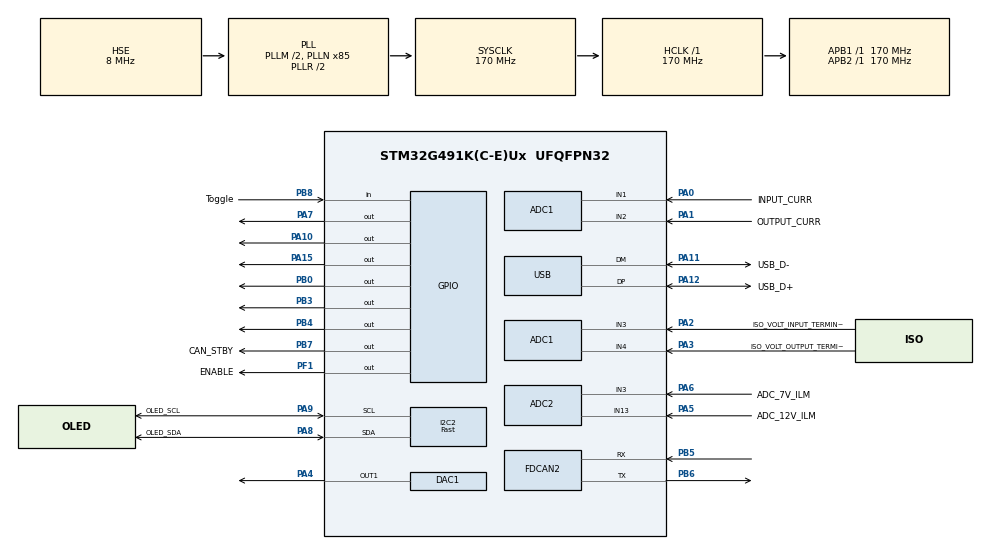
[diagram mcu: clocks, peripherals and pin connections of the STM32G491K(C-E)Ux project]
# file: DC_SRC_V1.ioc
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ADC1.Channel-2\#ChannelRegularConversion=ADC_CHANNEL_1
ADC1.Channel-3\#ChannelRegularConversion=ADC_CHANNEL_2
ADC1.Channel-4\#ChannelRegularConversion=ADC_CHANNEL_3
ADC1.Channel-5\#ChannelRegularConversion=ADC_CHANNEL_4
ADC1.ClockPrescaler=ADC_CLOCK_ASYNC_DIV64
ADC1.ContinuousConvMode=ENABLE
ADC1.DMAContinuousRequests=ENABLE
ADC1.EOCSelection=ADC_EOC_SEQ_CONV
ADC1.NbrOfConversion=4
ADC1.NbrOfConversionFlag=1
ADC1.OffsetNumber-2\#ChannelRegularConversion=ADC_OFFSET_NONE
ADC1.OffsetNumber-3\#ChannelRegularConversion=ADC_OFFSET_NONE
ADC1.OffsetNumber-4\#ChannelRegularConversion=ADC_OFFSET_NONE
ADC1.OffsetNumber-5\#ChannelRegularConversion=ADC_OFFSET_NONE
ADC1.Overrun=ADC_OVR_DATA_OVERWRITTEN
ADC1.Rank-2\#ChannelRegularConversion=1
ADC1.Rank-3\#ChannelRegularConversion=2
ADC1.Rank-4\#ChannelRegularConversion=3
ADC1.Rank-5\#ChannelRegularConversion=4
ADC1.SamplingTime-2\#ChannelRegularConversion=ADC_SAMPLETIME_2CYCLES_5
ADC1.SamplingTime-3\#ChannelRegularConversion=ADC_SAMPLETIME_2CYCLES_5
ADC1.SamplingTime-4\#ChannelRegularConversion=ADC_SAMPLETIME_2CYCLES_5
ADC1.SamplingTime-5\#ChannelRegularConversion=ADC_SAMPLETIME_2CYCLES_5
ADC1.master=1
ADC2.Channel-1\#ChannelRegularConversion=ADC_CHANNEL_3
ADC2.Channel-2\#ChannelRegularConversion=ADC_CHANNEL_13
ADC2.ClockPrescaler=ADC_CLOCK_ASYNC_DIV64
ADC2.ContinuousConvMode=ENABLE
ADC2.DMAContinuousRequests=ENABLE
ADC2.NbrOfConversion=2
ADC2.NbrOfConversionFlag=1
ADC2.OffsetNumber-1\#ChannelRegularConversion=ADC_OFFSET_NONE
ADC2.OffsetNumber-2\#ChannelRegularConversion=ADC_OFFSET_NONE
ADC2.Rank-1\#ChannelRegularConversion=1
ADC2.Rank-2\#ChannelRegularConversion=2
ADC2.SamplingTime-1\#ChannelRegularConversion=ADC_SAMPLETIME_24CYCLES_5
ADC2.SamplingTime-2\#ChannelRegularConversion=ADC_SAMPLETIME_24CYCLES_5
Dma.ADC1.0.Direction=DMA_PERIPH_TO_MEMORY
Dma.ADC1.0.EventEnable=DISABLE
Dma.ADC1.0.Instance=DMA1_Channel1
Dma.ADC1.0.MemDataAlignment=DMA_MDATAALIGN_WORD
Dma.ADC1.0.MemInc=DMA_MINC_ENABLE
Dma.ADC1.0.Mode=DMA_CIRCULAR
Dma.ADC1.0.PeriphDataAlignment=DMA_PDATAALIGN_WORD
Dma.ADC1.0.PeriphInc=DMA_PINC_DISABLE
Dma.ADC1.0.Polarity=HAL_DMAMUX_REQ_GEN_RISING
Dma.ADC1.0.Priority=DMA_PRIORITY_LOW
Dma.ADC1.0.RequestNumber=1
Dma.ADC1.0.SignalID=NONE
Dma.ADC1.0.SyncEnable=DISABLE
Dma.ADC1.0.SyncPolarity=HAL_DMAMUX_SYNC_NO_EVENT
Dma.ADC1.0.SyncRequestNumber=1
Dma.ADC1.0.SyncSignalID=NONE
Dma.ADC2.1.Direction=DMA_PERIPH_TO_MEMORY
Dma.ADC2.1.EventEnable=DISABLE
Dma.ADC2.1.Instance=DMA1_Channel2
Dma.ADC2.1.MemDataAlignment=DMA_MDATAALIGN_WORD
Dma.ADC2.1.MemInc=DMA_MINC_ENABLE
Dma.ADC2.1.Mode=DMA_CIRCULAR
Dma.ADC2.1.PeriphDataAlignment=DMA_PDATAALIGN_HALFWORD
Dma.ADC2.1.PeriphInc=DMA_PINC_DISABLE
Dma.ADC2.1.Polarity=HAL_DMAMUX_REQ_GEN_RISING
Dma.ADC2.1.Priority=DMA_PRIORITY_LOW
Dma.ADC2.1.RequestNumber=1
Dma.ADC2.1.SignalID=NONE
Dma.ADC2.1.SyncEnable=DISABLE
Dma.ADC2.1.SyncPolarity=HAL_DMAMUX_SYNC_NO_EVENT
Dma.ADC2.1.SyncRequestNumber=1
Dma.ADC2.1.SyncSignalID=NONE
Dma.I2C2_TX.2.Direction=DMA_MEMORY_TO_PERIPH
Dma.I2C2_TX.2.EventEnable=DISABLE
Dma.I2C2_TX.2.Instance=DMA1_Channel3
Dma.I2C2_TX.2.MemDataAlignment=DMA_MDATAALIGN_BYTE
Dma.I2C2_TX.2.MemInc=DMA_MINC_ENABLE
Dma.I2C2_TX.2.Mode=DMA_CIRCULAR
Dma.I2C2_TX.2.PeriphDataAlignment=DMA_PDATAALIGN_BYTE
Dma.I2C2_TX.2.PeriphInc=DMA_PINC_DISABLE
Dma.I2C2_TX.2.Polarity=HAL_DMAMUX_REQ_GEN_RISING
Dma.I2C2_TX.2.Priority=DMA_PRIORITY_LOW
Dma.I2C2_TX.2.RequestNumber=1
Dma.I2C2_TX.2.SignalID=NONE
Dma.I2C2_TX.2.SyncEnable=DISABLE
Dma.I2C2_TX.2.SyncPolarity=HAL_DMAMUX_SYNC_NO_EVENT
Dma.I2C2_TX.2.SyncRequestNumber=1
Dma.I2C2_TX.2.SyncSignalID=NONE
Dma.Request0=ADC1
Dma.Request1=ADC2
Dma.Request2=I2C2_TX
FDCAN2.AutoRetransmission=ENABLE
FDCAN2.CalculateBaudRateNominal=1000000
FDCAN2.CalculateTimeBitNominal=1000
FDCAN2.CalculateTimeQuantumNominal=125.0
FDCAN2.DataTimeSeg2=2
FDCAN2.FrameFormat=FDCAN_FRAME_FD_BRS
FDCAN2.Mode=FDCAN_MODE_EXTERNAL_LOOPBACK
FDCAN2.NominalPrescaler=1
FDCAN2.NominalSyncJumpWidth=2
FDCAN2.NominalTimeSeg1=5
FDCAN2.NominalTimeSeg2=2
FDCAN2.StdFiltersNbr=1
FREERTOS.Queues01=canQueueRxHeader,512,uint32_t,0,Static,canQueueRxHeaderBuffer,canQueueRxHeaderControlBlock;canQueueRxData,512,uint8_t,0,Static,canQueueRxDataBuffer,canQueueRxDataControlBlock
FREERTOS.Tasks01=defaultTask,24,512,StartDefaultTask,Default,NULL,Static,defaultTaskBuffer,defaultTaskControlBlock;canSendMsg,24,512,StartCanSend,Default,NULL,Static,canSendMsgBuffer,canSendMsgControlBlock;canRecieveMsg,24,512,StartRecieveMsg,Default,NULL,Static,canRecieveMsgBuffer,canRecieveMsgControlBlock;adcConvTask,24,512,StartAdcConv,Default,NULL,Static,adcConvTaskBuffer,adcConvTaskControlBlock;ScreenPrintTask,24,512,startScreenPrint,Default,NULL,Static,ScreenPrintHandBuffer,ScreenPrintHandControlBlock;TRKPinTask,24,512,StartTRKPin,Default,NULL,Static,TRKPinTaskBuffer,TRKPinTaskControlBlock;StatusLEDHandle,24,512,StartStatusLED,Default,NULL,Static,StatusLEDHandleBuffer,StatusLEDHandleControlBlock
FREERTOS.configENABLE_FPU=1
FREERTOS.configUSE_NEWLIB_REENTRANT=1
I2C2.CustomTiming=Disabled
I2C2.I2C_Speed_Mode=I2C_Fast
I2C2.Timing=0x40621236
Mcu.Family=STM32G4
Mcu.Name=STM32G491K(C-E)Ux
Mcu.Package=UFQFPN32
NVIC.FDCAN2_IT0_IRQn=true\:5\:0\:false\:false\:true\:true\:true\:true\:true
NVIC.FDCAN2_IT1_IRQn=true\:5\:0\:false\:false\:true\:true\:true\:true\:true
NVIC.PriorityGroup=NVIC_PRIORITYGROUP_4
NVIC.TIM20_UP_IRQn=true\:15\:0\:false\:false\:true\:false\:false\:true\:true
NVIC.TimeBase=TIM20_UP_IRQn
NVIC.TimeBaseIP=TIM20
NVIC.USB_LP_IRQn=true\:5\:0\:false\:false\:true\:true\:false\:true\:true
PA0.GPIO_Label=INPUT_CURR
PA0.Mode=IN1-Single-Ended
PA0.Signal=ADC1_IN1
PA1.GPIO_Label=OUTPUT_CURR
PA1.Mode=IN2-Single-Ended
PA1.Signal=ADC1_IN2
PA10.Signal=GPIO_Output
PA11.GPIO_Label=USB_D-
PA11.Mode=Device
PA11.Signal=USB_DM
PA12.GPIO_Label=USB_D+
PA12.Mode=Device
PA12.Signal=USB_DP
PA13.Mode=Serial_Wire
PA13.Signal=SYS_JTMS-SWDIO
PA14.Mode=Serial_Wire
PA14.Signal=SYS_JTCK-SWCLK
PA15.Signal=GPIO_Output
PA2.GPIO_Label=ISO_VOLT_INPUT_TERMINAL
PA2.Mode=IN3-Single-Ended
PA2.Signal=ADC1_IN3
PA3.GPIO_Label=ISO_VOLT_OUTPUT_TERMINAL
PA3.Mode=IN4-Single-Ended
PA3.Signal=ADC1_IN4
PA4.Signal=COMP_DAC11_group
PA5.GPIO_Label=ADC_12V_ILM
PA5.Mode=IN13-Single-Ended
PA5.Signal=ADC2_IN13
PA6.GPIO_Label=ADC_7V_ILM
PA6.Mode=IN3-Single-Ended
PA6.Signal=ADC2_IN3
PA7.Signal=GPIO_Output
PA8.GPIO_Label=OLED_SDA
PA8.Mode=I2C
PA8.Signal=I2C2_SDA
PA9.GPIO_Label=OLED_SCL
PA9.Mode=I2C
PA9.Signal=I2C2_SCL
PB0.Signal=GPIO_Output
PB3.Signal=GPIO_Output
PB4.Signal=GPIO_Output
PB5.GPIO_PuPd=GPIO_PULLUP
PB5.Mode=FDCAN_Activate
PB5.Signal=FDCAN2_RX
PB6.Mode=FDCAN_Activate
PB6.Signal=FDCAN2_TX
PB7.GPIO_Label=CAN_STBY
PB7.Signal=GPIO_Output
PB8-BOOT0.GPIO_Label=Toggle
PB8-BOOT0.GPIO_PuPd=GPIO_PULLUP
PB8-BOOT0.Signal=GPIO_Input
PF0-OSC_IN.Mode=HSE-External-Clock-Source
PF0-OSC_IN.Signal=RCC_OSC_IN
PF1-OSC_OUT.GPIO_Label=ENABLE
PF1-OSC_OUT.Signal=GPIO_Output
ProjectManager.HeapSize=0x200
ProjectManager.StackSize=0x400
ProjectManager.TargetToolchain=STM32CubeIDE
RCC.ADC12Freq_Value=170000000
RCC.ADC345Freq_Value=170000000
RCC.AHBFreq_Value=170000000
RCC.APB1Freq_Value=170000000
RCC.APB1TimFreq_Value=170000000
RCC.APB2Freq_Value=170000000
RCC.APB2TimFreq_Value=170000000
RCC.CortexFreq_Value=170000000
RCC.EXTERNAL_CLOCK_VALUE=12288000
RCC.FDCANCLockSelection=RCC_FDCANCLKSOURCE_HSE
RCC.HCLKFreq_Value=170000000
RCC.HSE_VALUE=8000000
RCC.HSI48_VALUE=48000000
RCC.HSI_VALUE=16000000
RCC.LSE_VALUE=32768
RCC.PLLM=RCC_PLLM_DIV2
RCC.PLLN=85
RCC.PLLSourceVirtual=RCC_PLLSOURCE_HSE
RCC.SYSCLKFreq_VALUE=170000000
RCC.SYSCLKSource=RCC_SYSCLKSOURCE_PLLCLK
RCC.VCOOutputFreq_Value=340000000
SH.COMP_DAC11_group.0=DAC1_OUT1,DAC_OUT1_ExtAndInt
USB_DEVICE.CLASS_NAME_FS=CDC
USB_DEVICE.VirtualMode=Cdc
USB_DEVICE.VirtualModeFS=Cdc_FS
VP_FREERTOS_VS_CMSIS_V2.Mode=CMSIS_V2
VP_SYS_VS_DBSignals.Mode=DisableDeadBatterySignals
VP_SYS_VS_tim20.Mode=TIM20
VP_USB_DEVICE_VS_USB_DEVICE_CDC_FS.Mode=CDC_FS
board=custom

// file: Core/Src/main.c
/* USER CODE BEGIN Header */
/**
  ******************************************************************************
  * @file           : main.c
  * @brief          : Main program body
  ******************************************************************************
  * @attention
  *
  * Copyright (c) 2025 STMicroelectronics.
  * All rights reserved.
  *
  * This software is licensed under terms that can be found in the LICENSE file
  * in the root directory of this software component.
  * If no LICENSE file comes with this software, it is provided AS-IS.
  *
  ******************************************************************************
  */
/* USER CODE END Header */
#include "main.h"
#include "cmsis_os.h"
#include "adc.h"
#include "dac.h"
#include "dma.h"
#include "fdcan.h"
#include "i2c.h"
#include "usb_device.h"
#include "gpio.h"

void SystemClock_Config(void);
void MX_FREERTOS_Init(void);

int main(void)
{

  /* MCU Configuration--------------------------------------------------------*/

  /* Reset of all peripherals, Initializes the Flash interface and the Systick. */
  HAL_Init();

  /* Configure the system clock */
  SystemClock_Config();

  /* Initialize all configured peripherals */
  MX_GPIO_Init();
  MX_DMA_Init();
  MX_FDCAN2_Init();
  MX_ADC1_Init();
  MX_ADC2_Init();
  MX_I2C2_Init();
  MX_DAC1_Init();

  /* Init scheduler */
  osKernelInitialize();

  /* Call init function for freertos objects (in cmsis_os2.c) */
  MX_FREERTOS_Init();

  /* Start scheduler */
  osKernelStart();

  /* We should never get here as control is now taken by the scheduler */

  /* Infinite loop */
  while (1)
  {

  }
}

void SystemClock_Config(void)
{
  RCC_OscInitTypeDef RCC_OscInitStruct = {0};
  RCC_ClkInitTypeDef RCC_ClkInitStruct = {0};

  /** Configure the main internal regulator output voltage
  */
  HAL_PWREx_ControlVoltageScaling(PWR_REGULATOR_VOLTAGE_SCALE1_BOOST);

  /** Initializes the RCC Oscillators according to the specified parameters
  * in the RCC_OscInitTypeDef structure.
  */
  RCC_OscInitStruct.OscillatorType = RCC_OSCILLATORTYPE_HSI48|RCC_OSCILLATORTYPE_HSE;
  RCC_OscInitStruct.HSEState = RCC_HSE_BYPASS;
  RCC_OscInitStruct.HSI48State = RCC_HSI48_ON;
  RCC_OscInitStruct.PLL.PLLState = RCC_PLL_ON;
  RCC_OscInitStruct.PLL.PLLSource = RCC_PLLSOURCE_HSE;
  RCC_OscInitStruct.PLL.PLLM = RCC_PLLM_DIV2;
  RCC_OscInitStruct.PLL.PLLN = 85;
  RCC_OscInitStruct.PLL.PLLP = RCC_PLLP_DIV2;
  RCC_OscInitStruct.PLL.PLLQ = RCC_PLLQ_DIV2;
  RCC_OscInitStruct.PLL.PLLR = RCC_PLLR_DIV2;
  if (HAL_RCC_OscConfig(&RCC_OscInitStruct) != HAL_OK)
  {
    Error_Handler();
  }

  /** Initializes the CPU, AHB and APB buses clocks
  */
  RCC_ClkInitStruct.ClockType = RCC_CLOCKTYPE_HCLK|RCC_CLOCKTYPE_SYSCLK
                              |RCC_CLOCKTYPE_PCLK1|RCC_CLOCKTYPE_PCLK2;
  RCC_ClkInitStruct.SYSCLKSource = RCC_SYSCLKSOURCE_PLLCLK;
  RCC_ClkInitStruct.AHBCLKDivider = RCC_SYSCLK_DIV1;
  RCC_ClkInitStruct.APB1CLKDivider = RCC_HCLK_DIV1;
  RCC_ClkInitStruct.APB2CLKDivider = RCC_HCLK_DIV1;

  if (HAL_RCC_ClockConfig(&RCC_ClkInitStruct, FLASH_LATENCY_4) != HAL_OK)
  {
    Error_Handler();
  }
}

void HAL_TIM_PeriodElapsedCallback(TIM_HandleTypeDef *htim)
{
  /* USER CODE BEGIN Callback 0 */
//
  /* USER CODE END Callback 0 */
  if (htim->Instance == TIM20) {
    HAL_IncTick();
  }
  /* USER CODE BEGIN Callback 1 */
//
  /* USER CODE END Callback 1 */
}

void Error_Handler(void)
{
  __disable_irq();
  while (1)
  {
  }
}

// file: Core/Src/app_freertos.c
/* USER CODE BEGIN Header */
/**
 ******************************************************************************
 * File Name          : app_freertos.c
 * Description        : Code for freertos applications
 ******************************************************************************
 * @attention
 *
 * Copyright (c) 2025 STMicroelectronics.
 * All rights reserved.
 *
 * This software is licensed under terms that can be found in the LICENSE file
 * in the root directory of this software component.
 * If no LICENSE file comes with this software, it is provided AS-IS.
 *
 ******************************************************************************
 */
/* USER CODE END Header */

#include "FreeRTOS.h"
#include "task.h"
#include "main.h"
#include "cmsis_os.h"

/* USER CODE BEGIN Includes */
#include "ssd1306.h"
#include "ssd1306_tests.h"
#include "ssd1306_fonts.h"
#include <string.h>
#include <stdbool.h>
#include "adc.h"
#include "dac.h"
#include <math.h>
#include "usb_device.h"  // Add this line to include the USB device header
#include "usbd_cdc_if.h" // Add this line to include the USB device header
#include "ecocar_can.h"
#include "fdcan.h"
//#include "tim.h"

/* USER CODE END Includes */

typedef StaticTask_t osStaticThreadDef_t;
typedef StaticQueue_t osStaticMessageQDef_t;
/* USER CODE BEGIN PTD */
typedef struct {
	float current[4];
	float voltage[2];
} boostData_t;

/* USER CODE END PTD */

/* USER CODE BEGIN PM */
#define SET_BRIGHTNESS(x) (uint32_t)(65535 * x / 100)
/* USER CODE END PM */

/* USER CODE BEGIN Variables */
FDCAN_BOOSTPack_t boost_data = { 0 };
FDCAN_BOOSTPack2_t boost_data2 = { 0 };
FDCAN_BOOSTPack3_t boost_data3 = {0};

static uint8_t voltage_reached = 0;  // Flag to track first detection

bool lock_state = false;
float SET_VOLT = 48;
const float VOLT_MCU = 3.283;

float en_pin = 0;

uint32_t ADC1_VALUE[4];
uint32_t ADC2_VALUE[2];

char ScreenBuffer[2048];
#define ADC_BUFFER_SIZE 50

/* USER CODE END Variables */
/* Definitions for defaultTask */
osThreadId_t defaultTaskHandle;
uint32_t defaultTaskBuffer[ 512 ];
osStaticThreadDef_t defaultTaskControlBlock;
const osThreadAttr_t defaultTask_attributes = {
  .name = "defaultTask",
  .stack_mem = &defaultTaskBuffer[0],
  .stack_size = sizeof(defaultTaskBuffer),
  .cb_mem = &defaultTaskControlBlock,
  .cb_size = sizeof(defaultTaskControlBlock),
  .priority = (osPriority_t) osPriorityNormal,
};
/* Definitions for canSendMsg */
osThreadId_t canSendMsgHandle;
uint32_t canSendMsgBuffer[ 512 ];
osStaticThreadDef_t canSendMsgControlBlock;
const osThreadAttr_t canSendMsg_attributes = {
  .name = "canSendMsg",
  .stack_mem = &canSendMsgBuffer[0],
  .stack_size = sizeof(canSendMsgBuffer),
  .cb_mem = &canSendMsgControlBlock,
  .cb_size = sizeof(canSendMsgControlBlock),
  .priority = (osPriority_t) osPriorityNormal,
};
/* Definitions for canRecieveMsg */
osThreadId_t canRecieveMsgHandle;
uint32_t canRecieveMsgBuffer[ 512 ];
osStaticThreadDef_t canRecieveMsgControlBlock;
const osThreadAttr_t canRecieveMsg_attributes = {
  .name = "canRecieveMsg",
  .stack_mem = &canRecieveMsgBuffer[0],
  .stack_size = sizeof(canRecieveMsgBuffer),
  .cb_mem = &canRecieveMsgControlBlock,
  .cb_size = sizeof(canRecieveMsgControlBlock),
  .priority = (osPriority_t) osPriorityNormal,
};
/* Definitions for adcConvTask */
osThreadId_t adcConvTaskHandle;
uint32_t adcConvTaskBuffer[ 512 ];
osStaticThreadDef_t adcConvTaskControlBlock;
const osThreadAttr_t adcConvTask_attributes = {
  .name = "adcConvTask",
  .stack_mem = &adcConvTaskBuffer[0],
  .stack_size = sizeof(adcConvTaskBuffer),
  .cb_mem = &adcConvTaskControlBlock,
  .cb_size = sizeof(adcConvTaskControlBlock),
  .priority = (osPriority_t) osPriorityNormal,
};
/* Definitions for ScreenPrintTask */
osThreadId_t ScreenPrintTaskHandle;
uint32_t ScreenPrintHandBuffer[ 512 ];
osStaticThreadDef_t ScreenPrintHandControlBlock;
const osThreadAttr_t ScreenPrintTask_attributes = {
  .name = "ScreenPrintTask",
  .stack_mem = &ScreenPrintHandBuffer[0],
  .stack_size = sizeof(ScreenPrintHandBuffer),
  .cb_mem = &ScreenPrintHandControlBlock,
  .cb_size = sizeof(ScreenPrintHandControlBlock),
  .priority = (osPriority_t) osPriorityNormal,
};
/* Definitions for TRKPinTask */
osThreadId_t TRKPinTaskHandle;
uint32_t TRKPinTaskBuffer[ 512 ];
osStaticThreadDef_t TRKPinTaskControlBlock;
const osThreadAttr_t TRKPinTask_attributes = {
  .name = "TRKPinTask",
  .stack_mem = &TRKPinTaskBuffer[0],
  .stack_size = sizeof(TRKPinTaskBuffer),
  .cb_mem = &TRKPinTaskControlBlock,
  .cb_size = sizeof(TRKPinTaskControlBlock),
  .priority = (osPriority_t) osPriorityNormal,
};
/* Definitions for StatusLEDHandle */
osThreadId_t StatusLEDHandleHandle;
uint32_t StatusLEDHandleBuffer[ 512 ];
osStaticThreadDef_t StatusLEDHandleControlBlock;
const osThreadAttr_t StatusLEDHandle_attributes = {
  .name = "StatusLEDHandle",
  .stack_mem = &StatusLEDHandleBuffer[0],
  .stack_size = sizeof(StatusLEDHandleBuffer),
  .cb_mem = &StatusLEDHandleControlBlock,
  .cb_size = sizeof(StatusLEDHandleControlBlock),
  .priority = (osPriority_t) osPriorityNormal,
};
/* Definitions for canQueueRxHeader */
osMessageQueueId_t canQueueRxHeaderHandle;
uint8_t canQueueRxHeaderBuffer[ 512 * sizeof( uint32_t ) ];
osStaticMessageQDef_t canQueueRxHeaderControlBlock;
const osMessageQueueAttr_t canQueueRxHeader_attributes = {
  .name = "canQueueRxHeader",
  .cb_mem = &canQueueRxHeaderControlBlock,
  .cb_size = sizeof(canQueueRxHeaderControlBlock),
  .mq_mem = &canQueueRxHeaderBuffer,
  .mq_size = sizeof(canQueueRxHeaderBuffer)
};
/* Definitions for canQueueRxData */
osMessageQueueId_t canQueueRxDataHandle;
uint8_t canQueueRxDataBuffer[ 512 * sizeof( uint8_t ) ];
osStaticMessageQDef_t canQueueRxDataControlBlock;
const osMessageQueueAttr_t canQueueRxData_attributes = {
  .name = "canQueueRxData",
  .cb_mem = &canQueueRxDataControlBlock,
  .cb_size = sizeof(canQueueRxDataControlBlock),
  .mq_mem = &canQueueRxDataBuffer,
  .mq_size = sizeof(canQueueRxDataBuffer)
};

/* USER CODE BEGIN FunctionPrototypes */
void HAL_FDCAN_RxFifo0Callback(FDCAN_HandleTypeDef *hfdcan, uint32_t RxFifo0ITs) {
	FDCAN_RxHeaderTypeDef RxHeader;
	uint8_t RxData[64];
	if ((RxFifo0ITs & FDCAN_IT_RX_FIFO0_NEW_MESSAGE) != RESET) {
		/* Retreive Rx messages from RX FIFO0 */
		if (HAL_FDCAN_GetRxMessage(hfdcan, FDCAN_RX_FIFO0, &RxHeader, RxData)
				!= HAL_OK) {
			/* Reception Error */
			Error_Handler();
		}
		if (HAL_FDCAN_ActivateNotification(hfdcan,
		FDCAN_IT_RX_FIFO0_NEW_MESSAGE, 0) != HAL_OK) {
			/* Notification Error */
			Error_Handler();
		}
		osMessageQueuePut(canQueueRxHeaderHandle, &RxHeader.Identifier, 0, 0);
		osMessageQueuePut(canQueueRxHeaderHandle, &RxHeader.DataLength, 0, 0);
		for (uint32_t i = 0; i < mapDlcToBytes(RxHeader.DataLength); i++) {
			osMessageQueuePut(canQueueRxDataHandle, &RxData[i], 0, 0);
		}
	}
}
/* USER CODE END FunctionPrototypes */

void StartDefaultTask(void *argument);
void StartCanSend(void *argument);
void StartRecieveMsg(void *argument);
void StartAdcConv(void *argument);
void startScreenPrint(void *argument);
void StartTRKPin(void *argument);
void StartStatusLED(void *argument);

void MX_FREERTOS_Init(void); /* (MISRA C 2004 rule 8.1) */

void MX_FREERTOS_Init(void) {
  /* USER CODE BEGIN Init */
//  HAL_TIM_PWM_Start(&htim3, TIM_CHANNEL_1); // LED1
//  HAL_TIM_PWM_Start(&htim2, TIM_CHANNEL_2); // LED2
//  HAL_TIM_PWM_Start(&htim8, TIM_CHANNEL_1); // LED3
//  HAL_TIM_PWM_Start(&htim1, TIM_CHANNEL_3); // LED4
//  HAL_TIM_PWM_Start(&htim3, TIM_CHANNEL_2); // LED5
//  HAL_TIM_PWM_Start(&htim3, TIM_CHANNEL_3); // CAN LED
  /* USER CODE END Init */

  /* Create the queue(s) */
  /* creation of canQueueRxHeader */
  canQueueRxHeaderHandle = osMessageQueueNew (512, sizeof(uint32_t), &canQueueRxHeader_attributes);

  /* creation of canQueueRxData */
  canQueueRxDataHandle = osMessageQueueNew (512, sizeof(uint8_t), &canQueueRxData_attributes);

  /* Create the thread(s) */
  /* creation of defaultTask */
  defaultTaskHandle = osThreadNew(StartDefaultTask, NULL, &defaultTask_attributes);

  /* creation of canSendMsg */
  canSendMsgHandle = osThreadNew(StartCanSend, NULL, &canSendMsg_attributes);

  /* creation of canRecieveMsg */
  canRecieveMsgHandle = osThreadNew(StartRecieveMsg, NULL, &canRecieveMsg_attributes);

  /* creation of adcConvTask */
  adcConvTaskHandle = osThreadNew(StartAdcConv, NULL, &adcConvTask_attributes);

  /* creation of ScreenPrintTask */
  ScreenPrintTaskHandle = osThreadNew(startScreenPrint, NULL, &ScreenPrintTask_attributes);

  /* creation of TRKPinTask */
  TRKPinTaskHandle = osThreadNew(StartTRKPin, NULL, &TRKPinTask_attributes);

  /* creation of StatusLEDHandle */
  StatusLEDHandleHandle = osThreadNew(StartStatusLED, NULL, &StatusLEDHandle_attributes);

}

void StartDefaultTask(void *argument)
{
  /* init code for USB_Device */
  MX_USB_Device_Init();
  /* USER CODE BEGIN StartDefaultTask */
	/* Infinite loop */
	for (;;) {

		// Increase the set output voltage using the push button. Since it is connected to the BOOT0 Pin, will need to push this button with the NRST button each time when flashing

		osDelay(200);
	}
  /* USER CODE END StartDefaultTask */
}

void StartCanSend(void *argument)
{
  /* USER CODE BEGIN StartCanSend */
	UNUSED(argument);
	FDCAN_TxHeaderTypeDef localTxHeader;
	const uint8_t msg_delay = 100;

	//LED SYNC
	uint8_t can_sync_led = 0;
	uint32_t sync_led_last = 0;
	uint32_t sync_led_this = osKernelGetSysTimerCount();

	localTxHeader.IdType = FDCAN_STANDARD_ID;
	localTxHeader.TxFrameType = FDCAN_DATA_FRAME;
	localTxHeader.ErrorStateIndicator = FDCAN_ESI_ACTIVE;
	localTxHeader.BitRateSwitch = FDCAN_BRS_ON;
	localTxHeader.FDFormat = FDCAN_CLASSIC_CAN;
	localTxHeader.TxEventFifoControl = FDCAN_NO_TX_EVENTS;
	localTxHeader.MessageMarker = 0;
	/* Infinite loop */

	for (;;) {

	//Sync LEDs
	// sync_led_this = osKernelGetTickCount();
	// if (sync_led_this - sync_led_last > 500) {
	// 	sync_led_last = sync_led_this;
	// 	localTxHeader.Identifier = FDCAN_SYNCLED_ID;
	// 	localTxHeader.DataLength = FDCAN_DLC_BYTES_1;
	// 	can_sync_led = (can_sync_led == 0) ? 1 : 0;
	// 	if (HAL_FDCAN_GetTxFifoFreeLevel(&hfdcan2) != 0) {
	// 	if (HAL_FDCAN_AddMessageToTxFifoQ(&hfdcan2, &localTxHeader,
	// 										&can_sync_led) != HAL_OK) {
	// 		Error_Handler();
	// 		}

	// 	}
	// }

		// Transmit boost data
		localTxHeader.Identifier = FDCAN_BOOSTPACK_ID;
		localTxHeader.DataLength = FDCAN_DLC_BYTES_8;
		if (HAL_FDCAN_GetTxFifoFreeLevel(&hfdcan2) != 0) {
			if (HAL_FDCAN_AddMessageToTxFifoQ(&hfdcan2, &localTxHeader,
					(uint8_t*) &boost_data.FDCAN_RawBOOSTPack) != HAL_OK) {
				Error_Handler();
			}
		} //else {
		  //log_warn("Tx Buffer Full");
		  //}

		localTxHeader.Identifier = FDCAN_BOOSTPACK2_ID;
		localTxHeader.DataLength = FDCAN_DLC_BYTES_8;
		if (HAL_FDCAN_GetTxFifoFreeLevel(&hfdcan2) != 0) {
			if (HAL_FDCAN_AddMessageToTxFifoQ(&hfdcan2, &localTxHeader,
					(uint8_t*) &boost_data2.FDCAN_RawBOOSTPack2) != HAL_OK) {
				Error_Handler();
			}
		} //else {
		  //log_warn("Tx Buffer Full");
		  //}

		osDelay(msg_delay);

		localTxHeader.Identifier = FDCAN_BOOSTPACK3_ID;
		localTxHeader.DataLength = FDCAN_DLC_BYTES_8;
		if (HAL_FDCAN_GetTxFifoFreeLevel(&hfdcan2) != 0) {
			if (HAL_FDCAN_AddMessageToTxFifoQ(&hfdcan2, &localTxHeader,
					(uint8_t*) &boost_data3.FDCAN_RawBOOSTPack3) != HAL_OK) {
				Error_Handler();
			}
		}
		}

  /* USER CODE END StartCanSend */
}

void StartRecieveMsg(void *argument)
{
  /* USER CODE BEGIN StartRecieveMsg */
	/* Infinite loop */
	UNUSED(argument);
	FDCAN_RxHeaderTypeDef localRxHeader = { 0 };
	uint8_t ret[64] = { 0 };
	/* Infinite loop */
	HAL_GPIO_WritePin(GPIOB, CAN_STBY_Pin, GPIO_PIN_RESET);
	for (;;) {

		if (osMessageQueueGet(canQueueRxHeaderHandle, &localRxHeader.Identifier,
				0,
				osWaitForever) == osOK) {
			if (osMessageQueueGet(canQueueRxHeaderHandle,
					&localRxHeader.DataLength, 0, 0) != osOK) {
				Error_Handler();
			}
			for (uint8_t i = 0; i < mapDlcToBytes(localRxHeader.DataLength);
					i++) {
				if (osMessageQueueGet(canQueueRxDataHandle, &ret[i], 0, 0)
						!= osOK) {
					Error_Handler();
				}
			}

			switch (localRxHeader.Identifier) {
			case FDCAN_H2ALARM_ID:
				// H2 ALARM
				if (ret[0] == 1) {
					lock_state = true;
				} else {
					lock_state = false;
				}
				break;

			default:
				break;
			}
		}
	}
  /* USER CODE END StartRecieveMsg */
}

void StartAdcConv(void *argument)
{
  /* USER CODE BEGIN StartAdcConv */
	UNUSED(argument);

//	const float = ;

	HAL_ADC_Start_DMA(&hadc1, ADC1_VALUE, 4);

	/* Infinite loop */
	for (;;) {

//		boost_data2.out_volt = ;
//		boost_data.in_volt = ;
//		boost_data.in_curr = ;
//		boost_data2.out_curr = ;

		osDelay(10);
	}
  /* USER CODE END StartAdcConv */
}

void startScreenPrint(void *argument)
{
  /* USER CODE BEGIN startScreenPrint */
	/* Infinite loop */
	ssd1306_Init();
	// Display the test bitmap for 2.5 seconds
	ssd1306_TestDrawBitmap();
	ssd1306_UpdateScreen();
//	osDelay(2500); // Delay for 2.5 seconds
//	ssd1306_Fill(Black);
//	ssd1306_UpdateScreen();

//	ssd1306_TestDrawBitmap2();
//	ssd1306_UpdateScreen();
//	ssd1306_Fill(Black);
//	ssd1306_UpdateScreen();
	for (;;) {

//	ssd1306_Fill(Black); // Clear the screen before updating
//
//		// Voltages
//		ssd1306_SetCursor(0, 5);
//		sprintf(ScreenBuffer, "     Welcome ");
//		ssd1306_WriteString(ScreenBuffer, Font_7x10, White);
//
//		ssd1306_SetCursor(0, 30);
//		sprintf(ScreenBuffer, "  Use Screen to ");
//		ssd1306_WriteString(ScreenBuffer, Font_7x10, White);
//
//		ssd1306_SetCursor(0, 42);
//		sprintf(ScreenBuffer, "      Debug");
//		ssd1306_WriteString(ScreenBuffer, Font_7x10, White);
//
//
////		ssd1306_SetCursor(0, 20);
////		sprintf(ScreenBuffer, "IN:%.2f", (float) boost_data.in_volt);
////		ssd1306_WriteString(ScreenBuffer, Font_7x10, White);
//
//
//
//		ssd1306_UpdateScreen(); // Refresh display

		osDelay(300); // Slow down update rate
	}
  /* USER CODE END startScreenPrint */
}

void StartTRKPin(void *argument)
{
  /* USER CODE BEGIN StartTRKPin */
	uint32_t DAC_VALUE;
	HAL_DAC_Start(&hdac1, DAC_CHANNEL_1);

	/* Infinite loop */
	for (;;) {

	//float TRK_VOLT = SET_VOLT / ; // Desired voltage output

		// Convert to DAC value

		// Set DAC output

		osDelay(1);
	}
  /* USER CODE END StartTRKPin */
}

void StartStatusLED(void *argument)
{
  /* USER CODE BEGIN StartStatusLED */
	/* Infinite loop */
	for (;;) {
	    // turn all LEDs off first
	    HAL_GPIO_WritePin(GPIOB, GPIO_PIN_4, GPIO_PIN_RESET);
	    HAL_GPIO_WritePin(GPIOB, GPIO_PIN_3, GPIO_PIN_RESET);
	    HAL_GPIO_WritePin(GPIOA, GPIO_PIN_15, GPIO_PIN_RESET);
	    HAL_GPIO_WritePin(GPIOA, GPIO_PIN_10, GPIO_PIN_RESET);
	    HAL_GPIO_WritePin(GPIOA, GPIO_PIN_7, GPIO_PIN_RESET);
	    HAL_GPIO_WritePin(GPIOB, GPIO_PIN_0, GPIO_PIN_RESET);

	    // static variables so they keep value across loop iterations
	    static int pos = 0;
	    static int dir = 1; // 1 = forward, -1 = backward

	    // pick which LED to light
	    switch (pos) {
	        case 0: HAL_GPIO_WritePin(GPIOB, GPIO_PIN_4, GPIO_PIN_SET); break;
	        case 1: HAL_GPIO_WritePin(GPIOB, GPIO_PIN_3, GPIO_PIN_SET); break;
	        case 2: HAL_GPIO_WritePin(GPIOA, GPIO_PIN_15, GPIO_PIN_SET); break;
	        case 3: HAL_GPIO_WritePin(GPIOA, GPIO_PIN_10, GPIO_PIN_SET); break;
	        case 4: HAL_GPIO_WritePin(GPIOA, GPIO_PIN_7, GPIO_PIN_SET); break;
	        case 5: HAL_GPIO_WritePin(GPIOB, GPIO_PIN_0, GPIO_PIN_SET); break;
	    }

	    // move to next position
	    pos += dir;

	    // reverse direction at ends
	    if (pos >= 5) dir = -1;
	    else if (pos <= 0) dir = 1;

	    osDelay(50); // adjust speed of chasing effect
	}
  /* USER CODE END StartStatusLED */
}
